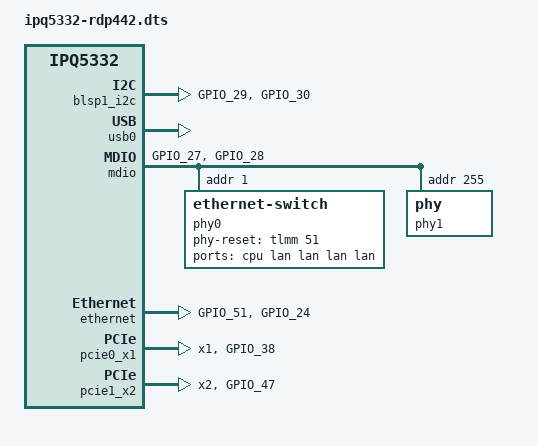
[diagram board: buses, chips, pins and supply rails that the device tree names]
// SPDX-License-Identifier: GPL-2.0-only
/*
* Copyright (c) 2023, Qualcomm Innovation Center, Inc. All rights reserved.
*/

#include "ipq5332-default.dts"

/ {

	soc: soc {
		tlmm: pinctrl@1000000 {
			mdio_pinmux: mdio {
				mdc {
					pins = "GPIO_27";
					function = "mdc_1";
					drive-strength = <DRIVE_STRENGTH_8MA>;
					bias-disable;
				};

				mdio {
					pins = "GPIO_28";
					function = "mdio_1";
					drive-strength = <DRIVE_STRENGTH_8MA>;
					bias-pull-up;
				};
			};

			phy_rst_pinmux: phy_rst {
				qti_8x8x_rst {
					pins = "GPIO_51";
					drive-strength = <DRIVE_STRENGTH_8MA>;
					bias-pull-up;
				};

				qti_sfp_tx_los {
					pins = "GPIO_24";
					drive-strength = <DRIVE_STRENGTH_8MA>;
					bias-pull-up;
					output-enable;
				};
			};

			blsp1_i2c_pinmux: blsp1_i2c_pins {
				blsp1_scl {
					pins = "GPIO_29";
					function = "blsp1_i2c_scl0";
					drive-strength = <DRIVE_STRENGTH_8MA>;
					bias-pull-up;
				};

				blsp1_sda {
					pins = "GPIO_30";
					function = "blsp1_i2c_sda0";
					drive-strength = <DRIVE_STRENGTH_8MA>;
					bias-pull-up;
				};
			};

			pcie0_x1_pinmux: pci_pins {
				pci_rst {
					pins = "GPIO_38";
					drive-strength = <DRIVE_STRENGTH_8MA>;
					bias-pull-up;
				};
			};

			pcie1_x2_pinmux: pci_pins {
				pci_rst {
					pins = "GPIO_47";
					drive-strength = <DRIVE_STRENGTH_8MA>;
					bias-pull-up;
				};
			};
		};

		blsp1_i2c: i2c@78B6000 {
			pinctrl-names = "default";
			pinctrl-0 = <&blsp1_i2c_pinmux>;
			status = "okay";
		};

		hs_m31phy_0: hs_m31phy@7b000 {
			status = "okay";
		};

		usb0: usb@8af8800 {
			qti,select-utmi-as-pipe-clk;
			status = "okay";

			dwc3@8a00000 {
				phys = <&hs_m31phy_0>;
				phy-names = "usb2-phy";
				maximum-speed = "high-speed";
			};
		};

		mdio: mdio@90000 {
			pinctrl-names = "default";
			pinctrl-0 = <&mdio_pinmux>;
			status = "okay";

			phy0: ethernet-switch@1 {
				phy-reset-gpio = <&tlmm 51 0>;
				dev-mode = <0x1>;
				reg = <1>;
				phy_id = <QCA8x8x_SWITCH_TYPE>;
				id = <1>;
				uniphy_id = <0>;
				uniphy_type = <0>;
				max_speed = <2500>;
				force-speed;
				xgmac;
				ports {
					#address-cells = <1>;
					#size-cells = <0>;

					port0: port@0 {
						reg = <0>;
						label = "cpu";
						phy-mode = "sgmii-2500";
						fixed-link {
							speed = <2500>;
							full-duplex;
						};
					};

					port1: port@1 {
						reg = <1>;
						label = "lan";
					};

					port2: port@2 {
						reg = <2>;
						label = "lan";
					};

					port3: port@3 {
						reg = <3>;
						label = "lan";
					};

					port4: port@4 {
						reg = <4>;
						label = "lan";
					};
				};
			};

			phy1: phy@ff {
				reg = <0xFF>;
				phy_id = <SFP10G_PHY_TYPE>;
				id = <2>;
				uniphy_id = <1>;
				uniphy_type = <0>;
				max_speed = <10000>;
				xgmac;
			};
		};

		ethernet: nss-switch {
			pinctrl-names = "default";
			pinctrl-0 = <&phy_rst_pinmux>;
			phy-handle0 = <&phy0>;
			phy-handle1 = <&phy1>;
			status = "okay";
		};

		pcie0_x1: pci@20000000 {
			pinctrl-names = "default";
			pinctrl-0 = <&pcie0_x1_pinmux>;
			num-lanes = <1>;
			perst_gpio = <&tlmm 38 0>;
			status = "okay";
		};

		pcie1_x2: pci@18000000 {
			pinctrl-names = "default";
			pinctrl-0 = <&pcie1_x2_pinmux>;
			num-lanes = <2>;
			perst_gpio = <&tlmm 47 0>;
			status = "okay";
		};
	};
};
